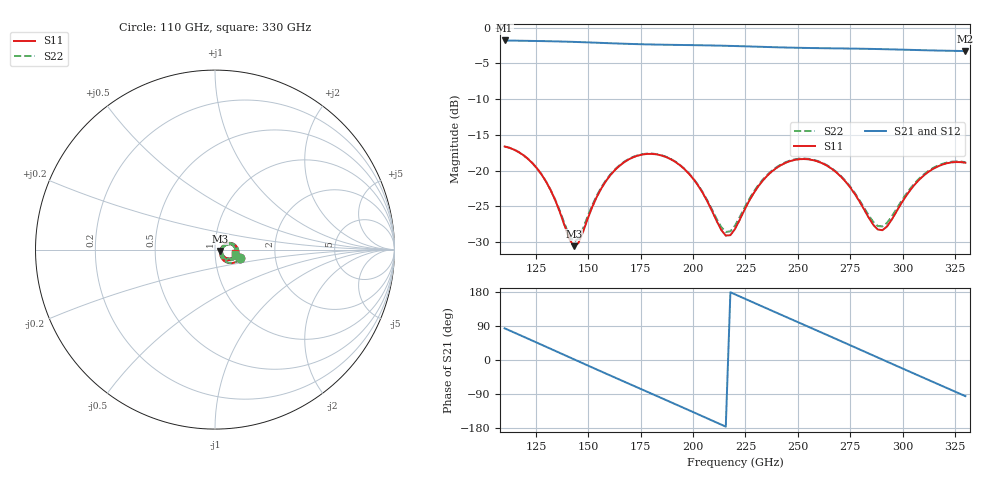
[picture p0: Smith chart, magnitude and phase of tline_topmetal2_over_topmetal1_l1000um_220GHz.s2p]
#  GHZ S DB R 50
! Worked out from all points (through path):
!   101 points, 110 GHz to 330 GHz, reference 50 ohm
!   highest |S21| = -1.80 dB at 110 GHz (marker M1); lowest = -3.3 dB at 330 GHz (marker M2)
!   group delay of S21, straight-line fit = 6.81 ps
!   lowest |S11| = -30.6 dB at 143 GHz (marker M3), VSWR 1.06, Z = 52.9 - j0.87 ohm
!   |S11| at or under -10 dB: start of sweep to end of sweep
!   |S22| runs from -30.0 to -16.6 dB; largest |S21 - S12| = 8.7e-14
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110  -16.64 -17.8  -1.80 83.7  -1.80 83.7  -16.64 -17.5
118.8  -17.82 -34.5  -1.85 62.1  -1.85 62.1  -17.82 -33.9
127.6  -20.54 -48.4  -1.89 40.4  -1.89 40.4  -20.53 -47.3
143  -30.59 -16.1  -2.00 2.1  -2.00 2.1  -29.97 -14.9
147.4  -28.62 17.7  -2.05 -8.8  -2.05 -8.8  -28.14 16.2
154  -23.71 29.2  -2.12 -25.0  -2.12 -25.0  -23.51 27.6
162.8  -19.90 20.6  -2.21 -46.6  -2.21 -46.6  -19.81 19.5
173.8  -17.90 2.2  -2.32 -73.4  -2.32 -73.4  -17.85 1.5
184.8  -17.89 -17.5  -2.39 -100.2  -2.39 -100.2  -17.85 -17.9
193.6  -19.23 -32.2  -2.43 -121.7  -2.43 -121.7  -19.19 -32.2
204.6  -23.15 -43.5  -2.48 -148.7  -2.48 -148.7  -23.05 -42.8
215.6  -29.10 -14.7  -2.55 -175.9  -2.55 -175.9  -28.59 -14.3
220  -28.19 11.3  -2.58 173.3  -2.58 173.3  -27.72 9.8
231  -22.26 24.9  -2.68 146.3  -2.68 146.3  -22.10 23.0
239.8  -19.64 14.8  -2.75 124.8  -2.75 124.8  -19.54 13.2
257.4  -18.56 -13.9  -2.86 82.0  -2.86 82.0  -18.49 -14.9
266.2  -19.76 -27.4  -2.90 60.5  -2.90 60.5  -19.69 -28.1
277.2  -23.29 -37.2  -2.94 33.6  -2.94 33.6  -23.15 -37.2
288.2  -28.26 -13.2  -3.00 6.5  -3.00 6.5  -27.78 -13.6
294.8  -26.89 16.2  -3.05 -9.7  -3.05 -9.7  -26.46 13.6
314.6  -19.77 13.2  -3.20 -58.0  -3.20 -58.0  -19.64 10.6
330  -18.91 -10.2  -3.28 -95.4  -3.28 -95.4  -18.83 -12.8
